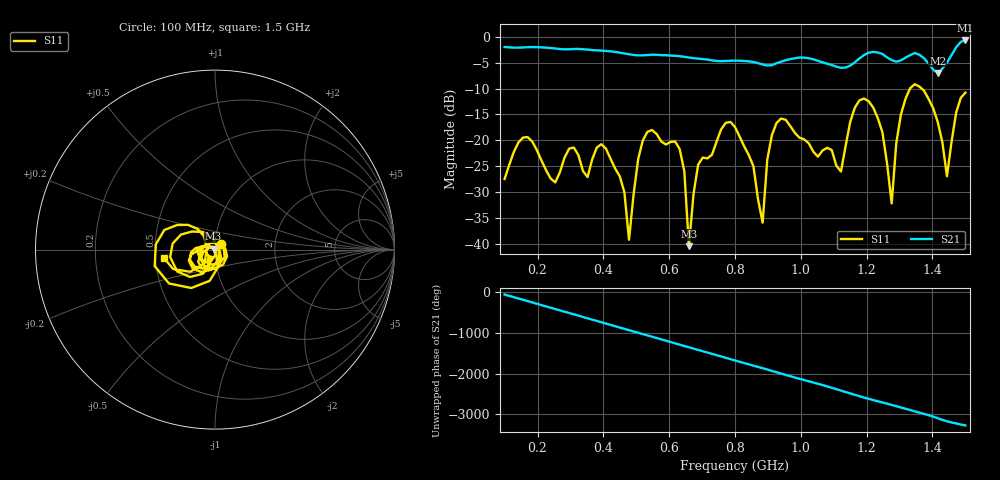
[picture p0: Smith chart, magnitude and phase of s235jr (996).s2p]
! NanoVNA-App
! Date: 2025-09-25 15:11:55
! Start: 100MHz Stop: 1,5GHz Points: 101
! S-Parameter data: F S11 S21 S12 S22
# Hz S RI R 50
!  Frequency  S11_Real  S11_Imag  S21_Real  S21_Imag  S12_Real  S12_Imag  S22_Real  S22_Imag
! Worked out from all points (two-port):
!   101 points, 100 MHz to 1.5 GHz, reference 50 ohm
!   highest |S21| = -0.70 dB at 1.5 GHz (marker M1); lowest = -7.0 dB at 1.416 GHz (marker M2)
!   |S21| within 3 dB of the highest: start of sweep to 624.4 MHz; 1.188 GHz to 1.256 GHz (68.01 MHz wide, 5.56 % of centre) (the widest 2 of 4)
!   lowest |S11| = -40.5 dB at 660 MHz (marker M3), VSWR 1.02, Z = 49.2 + j0.532 ohm
!   |S11| at or under -10 dB: start of sweep to 1.332 GHz; 1.367 GHz to end of sweep
!   S12 and S22 are empty: the file has one direction only
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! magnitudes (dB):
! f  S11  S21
! 100 MHz  -27.5  -2.0
! 156 MHz  -19.5  -2.1
! 338 MHz  -25.9  -2.4
! 408 MHz  -21.6  -2.7
! 478 MHz  -39.2  -3.4
! 520 MHz  -20.0  -3.6
! 576 MHz  -20.2  -3.5
! 632 MHz  -21.7  -3.7
! 660 MHz  -40.5  -4.0
! 688 MHz  -24.7  -4.2
! 800 MHz  -17.4  -4.6
! 884 MHz  -35.9  -5.3
! 926 MHz  -16.7  -5.1
! 1.038 GHz  -22.2  -4.3
! 1.122 GHz  -26.0  -6.0
! 1.206 GHz  -12.5  -3.1
! 1.276 GHz  -32.2  -4.5
! 1.29 GHz  -20.6  -4.8
! 1.332 GHz  -9.9  -3.5
! 1.416 GHz  -16.5  -7.0
! 1.444 GHz  -26.9  -5.0
! 1.5 GHz  -10.8  -0.7
